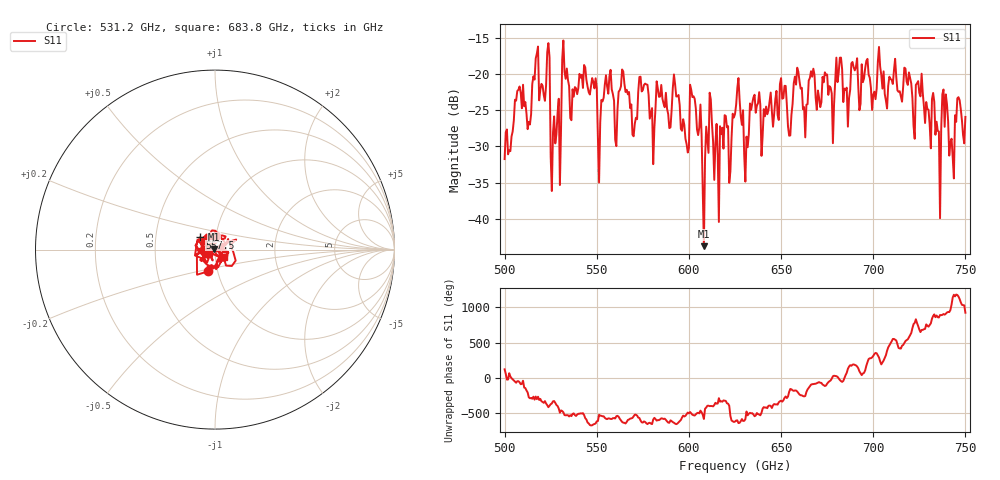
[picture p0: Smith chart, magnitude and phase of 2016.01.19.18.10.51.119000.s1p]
!Created with skrf (http://scikit-rf.org).
# GHz S RI R 50.0
!freq ReS11 ImS11
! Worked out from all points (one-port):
!   401 points, 500 GHz to 750 GHz, reference 50 ohm
!   lowest |S11| = -43.8 dB at 608.1 GHz (marker M1), VSWR 1.01, Z = 49.5 + j0.406 ohm
!   |S11| at or under -10 dB: start of sweep to end of sweep
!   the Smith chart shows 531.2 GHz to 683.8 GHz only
!   S11 on the Smith chart (normalised r, x): 531.2 GHz: 0.90, -0.22; 557.5 GHz: 0.84, +0.11; 683.8 GHz: 1.10, -0.10
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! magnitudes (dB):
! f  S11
! 500 GHz  -31.7
! 507.5 GHz  -22.1
! 513.1 GHz  -26.6
! 516.9 GHz  -17.8
! 523.1 GHz  -16.9
! 526.2 GHz  -28.1
! 531.2 GHz  -17.9
! 548.8 GHz  -21.9
! 551.9 GHz  -26.7
! 557.5 GHz  -19.4
! 562.5 GHz  -22.2
! 593.8 GHz  -23.0
! 598.8 GHz  -29.7
! 601.9 GHz  -23.1
! 608.1 GHz  -43.8
! 610.6 GHz  -30.9
! 615 GHz  -26.9
! 625 GHz  -25.5
! 631.2 GHz  -28.6
! 634.4 GHz  -24.0
! 656.2 GHz  -24.1
! 683.8 GHz  -23.8
! 687.5 GHz  -22.1
! 718.8 GHz  -21.5
! 735 GHz  -27.8
! 738.8 GHz  -27.3
! 742.5 GHz  -28.9
! 750 GHz  -25.9
